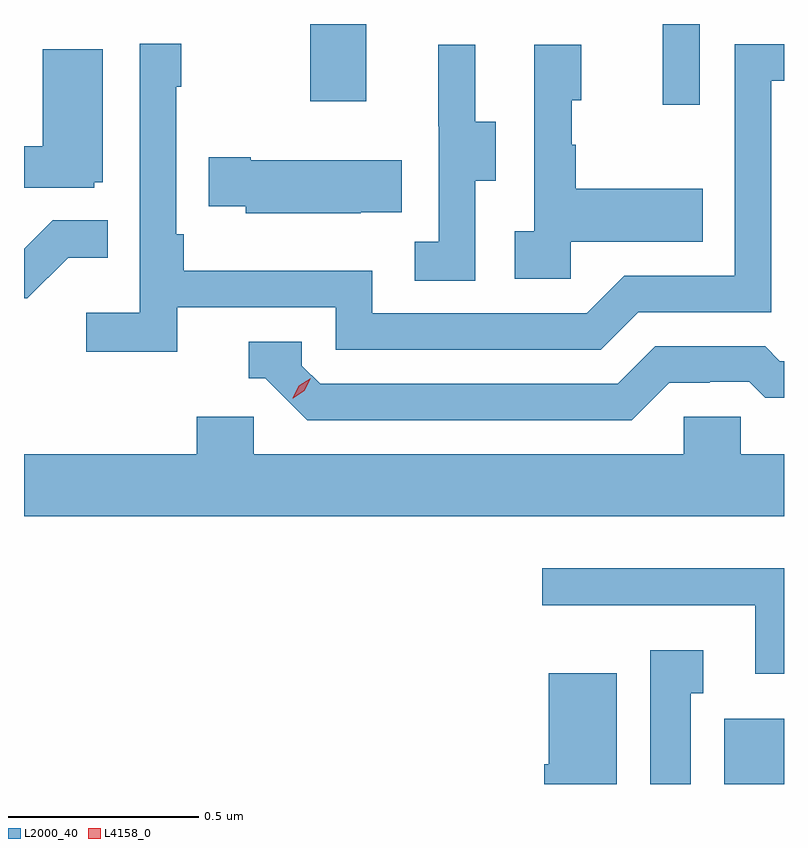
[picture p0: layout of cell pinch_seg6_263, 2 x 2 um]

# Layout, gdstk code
import gdstk
lib = gdstk.Library(unit=1e-6, precision=1e-09)
def R(c, l, rs):  # rectangles x0, y0, x1, y1
    for r in rs: c.add(gdstk.rectangle(r[:2], r[2:], *l))
def P(c, l, *ps):  # polygons
    for p in ps: c.add(gdstk.Polygon(p, *l))
L2000_40 = (2000, 40)
L4158_0 = (4158, 0)

pinch_seg6_263 = lib.new_cell('pinch_seg6_263')
R(pinch_seg6_263, L2000_40, [(1109.75,915.996,1109.907,916.168), (1109.588,917.784,1109.685,917.996), (1108.66,917.793,1108.807,917.996)])
P(pinch_seg6_263, L2000_40, [(1108.31,917.25),(1108.728,917.25),(1108.728,917.139),(1109.425,917.139),(1109.524,917.238),(1109.874,917.238),(1109.874,917.847),(1109.907,917.847),(1109.907,917.943),(1109.778,917.943),(1109.778,917.334),(1109.487,917.334),(1109.388,917.235),(1108.824,917.235),(1108.824,917.347),(1108.328,917.347),(1108.328,917.443),(1108.308,917.443),(1108.308,917.831),(1108.321,917.831),(1108.321,917.944),(1108.212,917.944),(1108.212,917.236),(1108.071,917.236),(1108.071,917.134),(1108.31,917.134)],
  [(1109.346,917.423),(1109.693,917.423),(1109.693,917.563),(1109.359,917.563),(1109.359,917.678),(1109.349,917.678),(1109.349,917.796),(1109.374,917.796),(1109.374,917.941),(1109.25,917.941),(1109.25,917.45),(1109.199,917.45),(1109.199,917.325),(1109.346,917.325)],
  [(1109.094,917.584),(1109.149,917.584),(1109.149,917.739),(1109.095,917.739),(1109.095,917.941),(1108.997,917.941),(1108.997,917.727),(1108.998,917.727),(1108.998,917.423),(1108.935,917.423),(1108.935,917.32),(1109.094,917.32)],
  [(1108.092,917.58),(1108.114,917.58),(1108.114,917.929),(1107.956,917.929),(1107.956,917.674),(1107.907,917.674),(1107.907,917.565),(1108.092,917.565)],
  [(1108.793,917.501),(1108.901,917.501),(1108.901,917.638),(1108.504,917.638),(1108.504,917.646),(1108.393,917.646),(1108.393,917.516),(1108.491,917.516),(1108.491,917.498),(1108.793,917.498)],
  [(1108.023,917.381),(1108.127,917.381),(1108.127,917.48),(1107.983,917.48),(1107.907,917.404),(1107.907,917.274),(1107.916,917.274)],
  [(1109.605,917.052),(1109.712,917.052),(1109.712,917.055),(1109.815,917.055),(1109.857,917.013),(1109.907,917.013),(1109.907,917.109),(1109.896,917.109),(1109.857,917.148),(1109.568,917.148),(1109.469,917.049),(1108.686,917.049),(1108.638,917.097),(1108.638,917.16),(1108.499,917.16),(1108.499,917.064),(1108.542,917.064),(1108.653,916.953),(1109.506,916.953)],
  [(1109.907,916.864),(1109.793,916.864),(1109.793,916.962),(1109.643,916.962),(1109.643,916.864),(1108.512,916.864),(1108.512,916.962),(1108.361,916.962),(1108.361,916.864),(1107.907,916.864),(1107.907,916.7),(1109.907,916.7)],
  [(1109.907,916.564),(1109.271,916.564),(1109.271,916.467),(1109.831,916.467),(1109.831,916.286),(1109.907,916.286)],
  [(1109.662,916.235),(1109.695,916.235),(1109.695,916.348),(1109.555,916.348),(1109.555,915.996),(1109.662,915.996)],
  [(1109.467,916.288),(1109.288,916.288),(1109.288,916.048),(1109.276,916.048),(1109.276,915.996),(1109.467,915.996)])
P(pinch_seg6_263, L4158_0, [(1108.614,917.011),(1108.614,917.012),(1108.63,917.044),(1108.661,917.064),(1108.661,917.064),(1108.661,917.064),(1108.645,917.031),(1108.615,917.011)])

lib.write_gds('pinch_seg6_263.gds')
